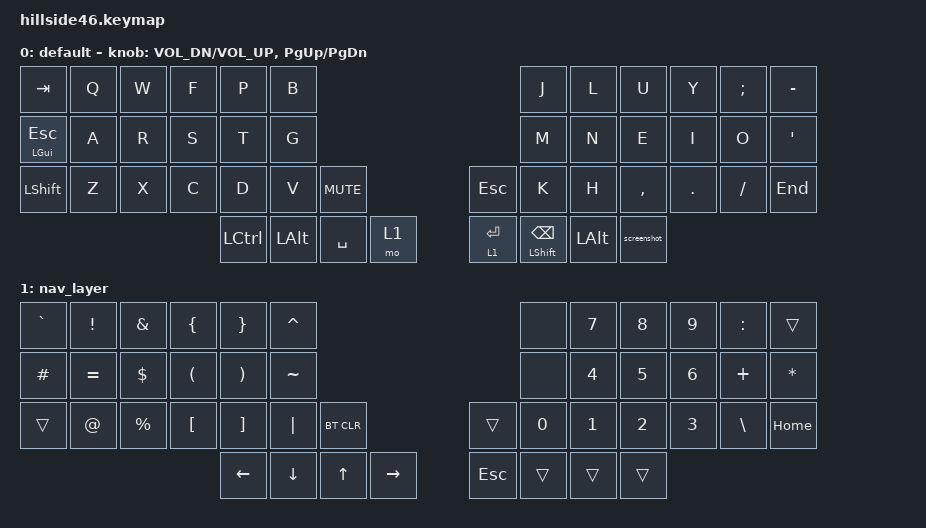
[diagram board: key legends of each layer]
#include <behaviors.dtsi>
#include <dt-bindings/zmk/keys.h>
#include <dt-bindings/zmk/bt.h>

/ {
    macros {
	    ZMK_MACRO(screenshot,
		wait-ms = <30>;
		tap-ms = <40>;
		bindings = <&macro_press &kp LGUI &kp LSHIFT>, <&macro_tap &kp N5>, <&macro_release &kp LSHIFT &kp LGUI>;
	    )
    };
};

/ {
        keymap {
                compatible = "zmk,keymap";

                default {
                        bindings = <
&kp  TAB      &kp  Q        &kp  W        &kp  F        &kp  P        &kp  B                                                                         &kp  J         &kp  L        &kp  U        &kp  Y        &kp  SEMI     &kp  MINUS
&mt LGUI ESC  &kp  A        &kp  R        &kp  S        &kp  T        &kp  G                                                                         &kp  M         &kp  N        &kp  E        &kp  I        &kp  O        &kp  SQT
&kp  LSHIFT   &kp  Z        &kp  X        &kp  C        &kp  D        &kp  V        &kp  C_MUTE                                        &kp ESC       &kp  K         &kp  H        &kp  COMMA    &kp  DOT      &kp  SLASH    &kp  END
                                                        &kp  LCTL     &kp  LALT     &kp  SPACE    &mo 1                                &lt 1 ENTER   &mt LSHFT BSPC &kp LALT      &screenshot
                        >;
			sensor-bindings = <&inc_dec_kp C_VOL_DN C_VOL_UP &inc_dec_kp PG_UP PG_DN>;
			
                };
		
                nav_layer {
                        bindings = <
&kp  GRAVE    &kp  EXCL     &kp  AMPS     &kp  LBRC     &kp  RBRC     &kp  CARET                                                                     &none         &kp   N7      &kp   N8      &kp   N9      &kp  COLON    &trans
&kp  HASH     &kp  EQUAL    &kp  DLLR     &kp  LPAR     &kp  RPAR     &kp  TILDE                                                                     &none         &kp   N4      &kp   N5      &kp   N6      &kp  PLUS     &kp STAR
&trans        &kp  AT       &kp  PRCNT    &kp  LBKT     &kp  RBKT     &kp  PIPE     &bt BT_CLR                                         &trans        &kp   N0      &kp   N1      &kp   N2      &kp   N3      &kp  BSLH     &kp HOME
                                                        &kp LEFT      &kp DOWN      &kp UP        &kp RIGHT              &kp ESC       &trans        &trans        &trans 
                        >;
			
                };
        };
};
